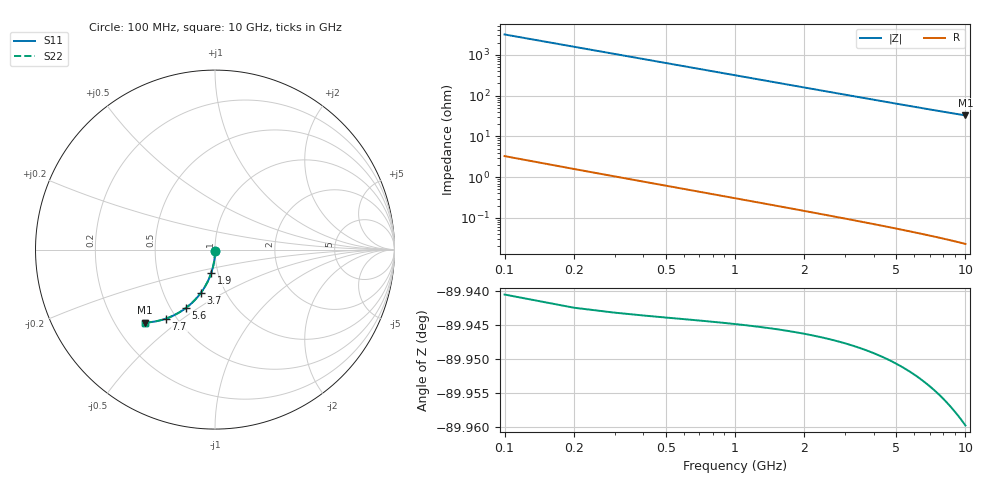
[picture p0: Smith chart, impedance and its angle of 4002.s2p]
# Hz S RI R 50.00
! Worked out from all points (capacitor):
!   100 points, 100 MHz to 10 GHz, reference 50 ohm
!   read as one part in shunt: C = 502 fF near 100 MHz
!   lowest |Z| = 32.8 ohm at 10 GHz (marker M1)
!   S11 on the Smith chart (normalised r, x): 100 MHz: 1.00, -0.01; 1.9 GHz: 0.93, -0.25; 3.7 GHz: 0.77, -0.39; 5.6 GHz: 0.59, -0.45; 7.7 GHz: 0.44, -0.43; 10 GHz: 0.32, -0.39
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1e8  0.000295 -0.00708  0.9996 -0.00869  0.9996 -0.00869  0.000295 -0.00708
2e8  0.000105 -0.0142  0.9994 -0.0174  0.9994 -0.0174  0.000105 -0.0142
3e8  -0.000208 -0.0212  0.999 -0.0261  0.999 -0.0261  -0.000208 -0.0212
4e8  -0.000644 -0.0283  0.9986 -0.0347  0.9986 -0.0347  -0.000644 -0.0283
5e8  -0.0012 -0.0353  0.998 -0.0434  0.998 -0.0434  -0.0012 -0.0353
6e8  -0.00188 -0.0424  0.9973 -0.052  0.9973 -0.052  -0.00188 -0.0424
8e8  -0.00361 -0.0564  0.9956 -0.0693  0.9956 -0.0693  -0.00361 -0.0564
1.1e9  -0.0071 -0.0773  0.992 -0.095  0.992 -0.095  -0.0071 -0.0773
1.4e9  -0.0117 -0.0978  0.9873 -0.1204  0.9873 -0.1204  -0.0117 -0.0978
1.8e9  -0.0193 -0.1248  0.9795 -0.1538  0.9795 -0.1538  -0.0193 -0.1248
1.9e9  -0.0215 -0.1314  0.9772 -0.162  0.9772 -0.162  -0.0215 -0.1314
2.2e9  -0.0288 -0.1509  0.9698 -0.1864  0.9698 -0.1864  -0.0288 -0.1509
2.6e9  -0.0399 -0.1762  0.9584 -0.2181  0.9584 -0.2181  -0.0399 -0.1762
3.4e9  -0.0667 -0.2235  0.931 -0.2784  0.931 -0.2784  -0.0667 -0.2235
3.7e9  -0.0781 -0.24  0.9193 -0.2998  0.9193 -0.2998  -0.0781 -0.24
4.4e9  -0.1074 -0.2756  0.8893 -0.3468  0.8893 -0.3468  -0.1074 -0.2756
5.1e9  -0.1396 -0.3069  0.8562 -0.3895  0.8562 -0.3895  -0.1396 -0.3069
5.6e9  -0.1639 -0.3265  0.8311 -0.4174  0.8311 -0.4174  -0.1639 -0.3265
6.7e9  -0.2202 -0.3616  0.773 -0.4707  0.773 -0.4707  -0.2202 -0.3616
7.7e9  -0.2728 -0.3842  0.7184 -0.51  0.7184 -0.51  -0.2728 -0.3842
8.4e9  -0.3096 -0.3951  0.6801 -0.5326  0.6801 -0.5326  -0.3096 -0.3951
1e10  -0.3909 -0.4066  0.5945 -0.5714  0.5945 -0.5714  -0.3909 -0.4066
